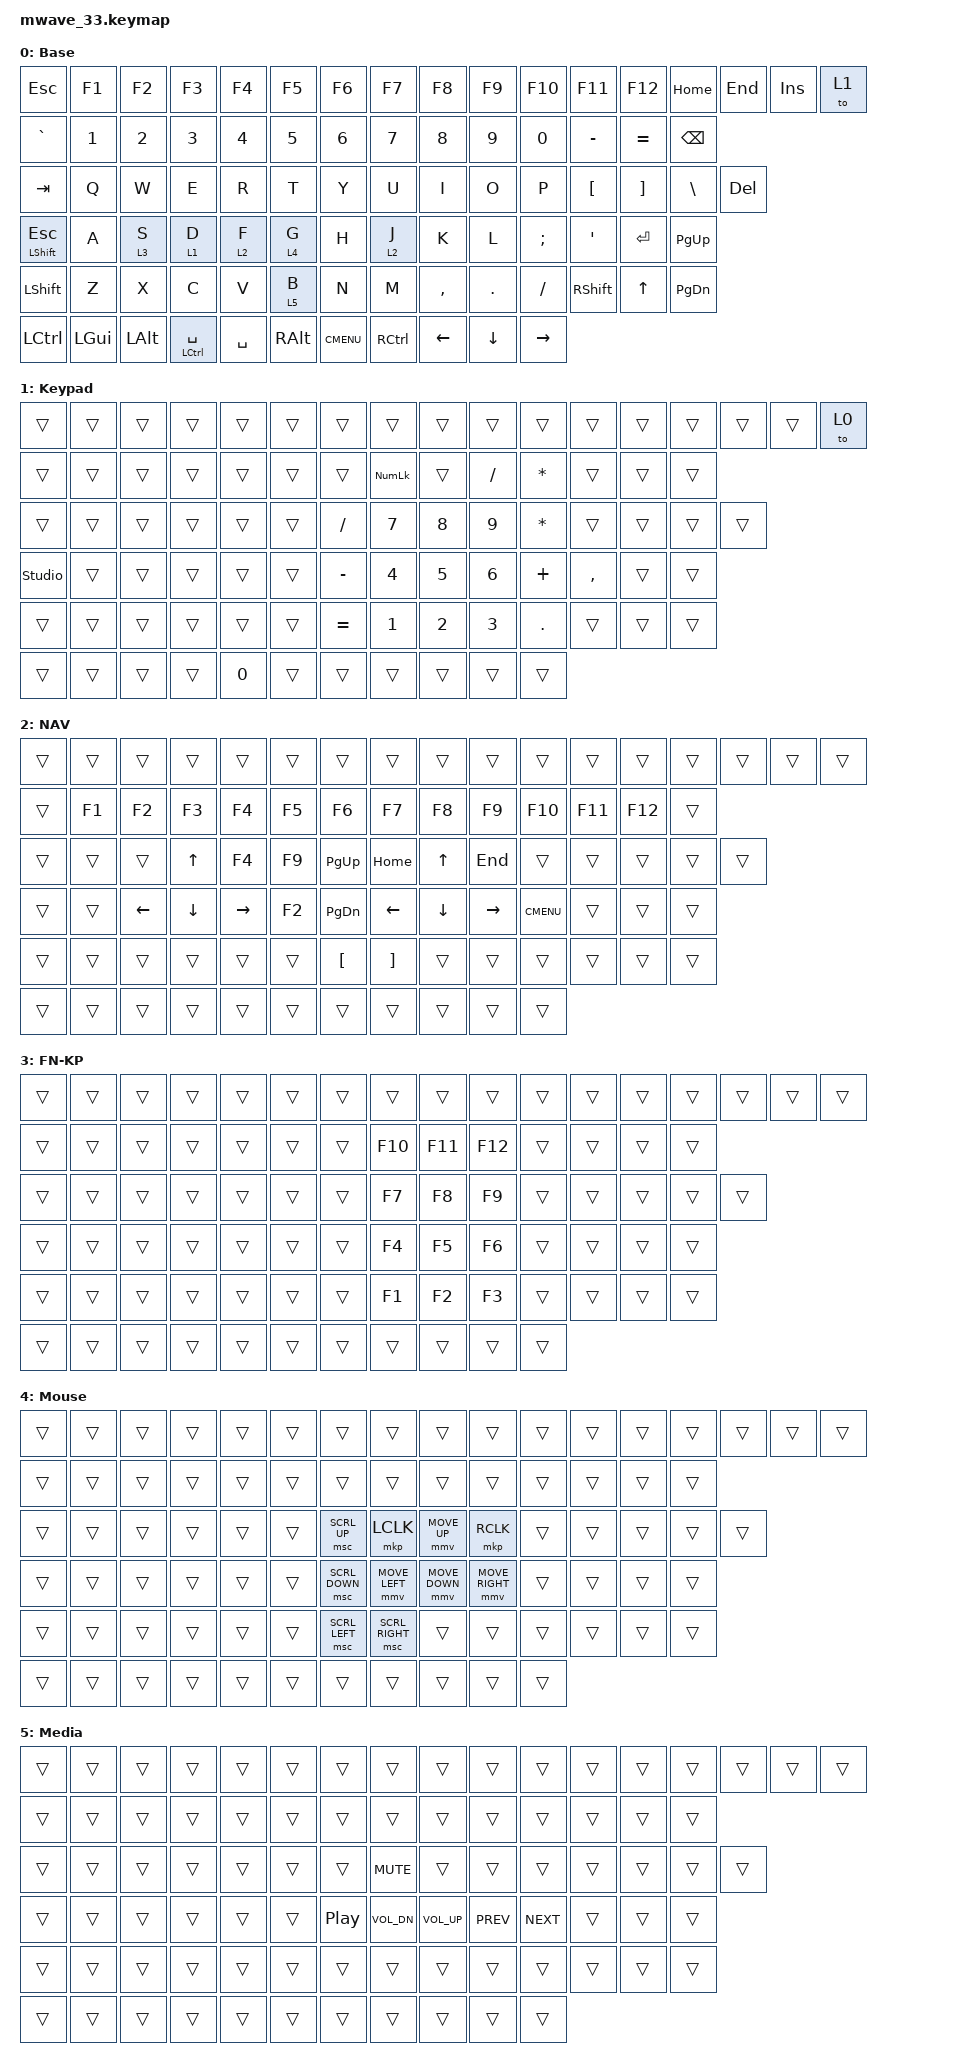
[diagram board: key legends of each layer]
#include <dt-bindings/advertising_mode.h>
#include <behaviors/advertising_mode.dtsi>
#include <behaviors/stp_indicators.dtsi>
#include <behaviors.dtsi>
#include <dt-bindings/zmk/keys.h>
#include <dt-bindings/zmk/pointing.h>
#include "studio-macros.dtsi"

/*
 * The mWave firmware reserves 12 x 32 virtual positions for Studio macros.
 * These helpers keep every active layer aligned with the board transform.
 */

#define VIRTUAL_TRANS_32 \
    &trans &trans &trans &trans &trans &trans &trans &trans \
    &trans &trans &trans &trans &trans &trans &trans &trans \
    &trans &trans &trans &trans &trans &trans &trans &trans \
    &trans &trans &trans &trans &trans &trans &trans &trans
#define VIRTUAL_NONE_32 \
    &none &none &none &none &none &none &none &none \
    &none &none &none &none &none &none &none &none \
    &none &none &none &none &none &none &none &none \
    &none &none &none &none &none &none &none &none
#define VIRTUAL_TRANS_384 \
    VIRTUAL_TRANS_32 VIRTUAL_TRANS_32 VIRTUAL_TRANS_32 VIRTUAL_TRANS_32 \
    VIRTUAL_TRANS_32 VIRTUAL_TRANS_32 VIRTUAL_TRANS_32 VIRTUAL_TRANS_32 \
    VIRTUAL_TRANS_32 VIRTUAL_TRANS_32 VIRTUAL_TRANS_32 VIRTUAL_TRANS_32
#define VIRTUAL_NONE_384 \
    VIRTUAL_NONE_32 VIRTUAL_NONE_32 VIRTUAL_NONE_32 VIRTUAL_NONE_32 \
    VIRTUAL_NONE_32 VIRTUAL_NONE_32 VIRTUAL_NONE_32 VIRTUAL_NONE_32 \
    VIRTUAL_NONE_32 VIRTUAL_NONE_32 VIRTUAL_NONE_32 VIRTUAL_NONE_32

/ {
    #include "mwave_prim.dtsi"

    behaviors {
        spc_ctl: space_control {
            compatible = "zmk,behavior-hold-tap";
            #binding-cells = <2>;
            flavor = "balanced";
            tapping-term-ms = <200>;
            quick-tap-ms = <175>;
            require-prior-idle-ms = <125>;
            bindings = <&kp>, <&kp>;

            display-name = "Space/Ctrl";
        };
    };

    combos {
        compatible = "zmk,combos";

        df_keypad_toggle {
            bindings = <&tog 1>;
            key-positions = <49 50>;
            layers = <0 1>;
            timeout-ms = <50>;
        };

        fg_mute {
            bindings = <&kp C_MUTE>;
            key-positions = <50 51>;
            layers = <0>;
            timeout-ms = <50>;
        };
    };

    keymap {
        compatible = "zmk,keymap";

        default_layer {
            display-name = "Base";
            bindings = <
&kp ESC        &kp F1    &kp F2    &kp F3                &kp F4     &kp F5    &kp F6       &kp F7     &kp F8     &kp F9    &kp F10    &kp F11    &kp F12    &kp HOME   &kp END  &kp INSERT  &to 1
&kp GRAVE      &kp N1    &kp N2    &kp N3                &kp N4     &kp N5    &kp N6       &kp N7     &kp N8     &kp N9    &kp N0     &kp MINUS  &kp EQUAL  &kp BSPC
&kp TAB        &kp Q     &kp W     &kp E                 &kp R      &kp T     &kp Y        &kp U      &kp I      &kp O     &kp P      &kp LBKT   &kp RBKT   &kp BSLH   &kp DEL
&mt LSHFT ESC  &kp A     &lt 3 S   &lt 1 D               &lt 2 F    &lt 4 G   &kp H        &lt 2 J    &kp K      &kp L     &kp SEMI   &kp SQT    &kp RET    &kp PG_UP
&kp LSHFT      &kp Z     &kp X     &kp C                 &kp V      &lt 5 B   &kp N        &kp M      &kp COMMA  &kp DOT   &kp FSLH   &kp RSHFT  &kp UP     &kp PG_DN
&kp LCTRL      &kp LGUI  &kp LALT  &spc_ctl LCTRL SPACE  &kp SPACE  &kp RALT  &kp K_CMENU  &kp RCTRL  &kp LEFT   &kp DOWN  &kp RIGHT
            >;
        };

        raise {
            display-name = "Keypad";
            bindings = <
&trans          &trans  &trans  &trans  &trans  &trans  &trans     &trans          &trans  &trans    &trans     &trans     &trans  &trans  &trans  &trans  &to 0
&trans          &trans  &trans  &trans  &trans  &trans  &trans     &kp KP_NUMLOCK  &trans  &kp FSLH  &kp ASTRK  &trans     &trans  &trans
&trans          &trans  &trans  &trans  &trans  &trans  &kp FSLH   &kp N7          &kp N8  &kp N9    &kp ASTRK  &trans     &trans  &trans  &trans
&studio_unlock  &trans  &trans  &trans  &trans  &trans  &kp MINUS  &kp N4          &kp N5  &kp N6    &kp PLUS   &kp COMMA  &trans  &trans
&trans          &trans  &trans  &trans  &trans  &trans  &kp EQUAL  &kp N1          &kp N2  &kp N3    &kp DOT    &trans     &trans  &trans
&trans          &trans  &trans  &trans  &kp N0  &trans  &trans     &trans          &trans  &trans    &trans
            >;
        };

        extra1 {
            display-name = "NAV";
            bindings = <
&trans  &trans  &trans    &trans    &trans     &trans  &trans     &trans    &trans    &trans     &trans       &trans   &trans   &trans  &trans  &trans  &trans
&trans  &kp F1  &kp F2    &kp F3    &kp F4     &kp F5  &kp F6     &kp F7    &kp F8    &kp F9     &kp F10      &kp F11  &kp F12  &trans
&trans  &trans  &trans    &kp UP    &kp F4     &kp F9  &kp PG_UP  &kp HOME  &kp UP    &kp END    &trans       &trans   &trans   &trans  &trans
&trans  &trans  &kp LEFT  &kp DOWN  &kp RIGHT  &kp F2  &kp PG_DN  &kp LEFT  &kp DOWN  &kp RIGHT  &kp K_CMENU  &trans   &trans   &trans
&trans  &trans  &trans    &trans    &trans     &trans  &kp LBKT   &kp RBKT  &trans    &trans     &trans       &trans   &trans   &trans
&trans  &trans  &trans    &trans    &trans     &trans  &trans     &trans    &trans    &trans     &trans
            >;
        };

        extra2 {
            display-name = "FN-KP";
            bindings = <
&trans  &trans  &trans  &trans  &trans  &trans  &trans  &trans   &trans   &trans   &trans  &trans  &trans  &trans  &trans  &trans  &trans
&trans  &trans  &trans  &trans  &trans  &trans  &trans  &kp F10  &kp F11  &kp F12  &trans  &trans  &trans  &trans
&trans  &trans  &trans  &trans  &trans  &trans  &trans  &kp F7   &kp F8   &kp F9   &trans  &trans  &trans  &trans  &trans
&trans  &trans  &trans  &trans  &trans  &trans  &trans  &kp F4   &kp F5   &kp F6   &trans  &trans  &trans  &trans
&trans  &trans  &trans  &trans  &trans  &trans  &trans  &kp F1   &kp F2   &kp F3   &trans  &trans  &trans  &trans
&trans  &trans  &trans  &trans  &trans  &trans  &trans  &trans   &trans   &trans   &trans
            >;
        };

        extra3 {
            display-name = "Mouse";
            bindings = <
&trans  &trans  &trans  &trans  &trans  &trans  &trans          &trans           &trans          &trans           &trans  &trans  &trans  &trans  &trans  &trans  &trans
&trans  &trans  &trans  &trans  &trans  &trans  &trans          &trans           &trans          &trans           &trans  &trans  &trans  &trans
&trans  &trans  &trans  &trans  &trans  &trans  &msc SCRL_UP    &mkp LCLK        &mmv MOVE_UP    &mkp RCLK        &trans  &trans  &trans  &trans  &trans
&trans  &trans  &trans  &trans  &trans  &trans  &msc SCRL_DOWN  &mmv MOVE_LEFT   &mmv MOVE_DOWN  &mmv MOVE_RIGHT  &trans  &trans  &trans  &trans
&trans  &trans  &trans  &trans  &trans  &trans  &msc SCRL_LEFT  &msc SCRL_RIGHT  &trans          &trans           &trans  &trans  &trans  &trans
&trans  &trans  &trans  &trans  &trans  &trans  &trans          &trans           &trans          &trans           &trans
            >;
        };

        extra4 {
            display-name = "Media";
            bindings = <
&trans  &trans  &trans  &trans  &trans  &trans  &trans    &trans        &trans        &trans      &trans      &trans  &trans  &trans  &trans  &trans  &trans
&trans  &trans  &trans  &trans  &trans  &trans  &trans    &trans        &trans        &trans      &trans      &trans  &trans  &trans
&trans  &trans  &trans  &trans  &trans  &trans  &trans    &kp C_MUTE    &trans        &trans      &trans      &trans  &trans  &trans  &trans
&trans  &trans  &trans  &trans  &trans  &trans  &kp C_PP  &kp C_VOL_DN  &kp C_VOL_UP  &kp C_PREV  &kp C_NEXT  &trans  &trans  &trans
&trans  &trans  &trans  &trans  &trans  &trans  &trans    &trans        &trans        &trans      &trans      &trans  &trans  &trans
&trans  &trans  &trans  &trans  &trans  &trans  &trans    &trans        &trans        &trans      &trans
            >;
        };

        extra5 {
            display-name = "Yellow";
            status = "reserved";
        };
    };
};
